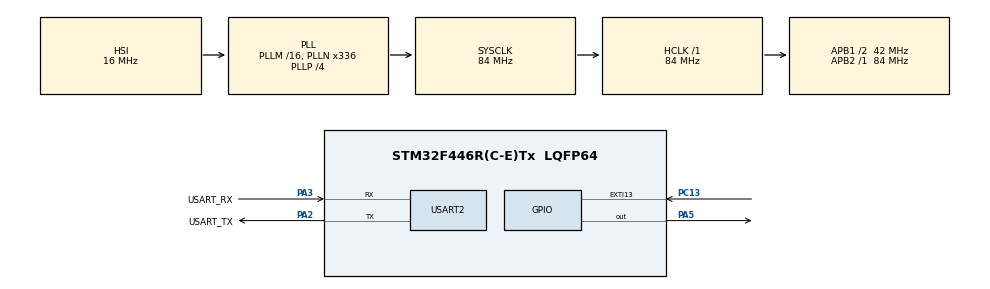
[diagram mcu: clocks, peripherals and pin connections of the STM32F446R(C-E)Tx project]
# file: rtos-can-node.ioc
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FREERTOS.Mutexes01=uartMutex,Dynamic,NULL,Available
FREERTOS.Queues01=messageQueue,5,uint32_t,0,Dynamic,NULL,NULL
FREERTOS.Tasks01=defaultTask,24,128,StartDefaultTask,Default,NULL,Dynamic,NULL,NULL;SecondTask,32,128,StartSecondTask,Default,NULL,Dynamic,NULL,NULL
Mcu.Family=STM32F4
Mcu.Name=STM32F446R(C-E)Tx
Mcu.Package=LQFP64
NUCLEO-F446RE.BUTTON=1
NUCLEO-F446RE.Bsp_Common_DEMO=true
NUCLEO-F446RE.LD1=true
NVIC.EXTI15_10_IRQn=true\:5\:0\:false\:false\:true\:true\:false\:true\:true
NVIC.PriorityGroup=NVIC_PRIORITYGROUP_4
NVIC.TIM6_DAC_IRQn=true\:15\:0\:false\:false\:true\:false\:false\:true\:true
NVIC.TimeBase=TIM6_DAC_IRQn
NVIC.TimeBaseIP=TIM6
PA13.GPIO_Label=TMS
PA13.Mode=Serial_Wire
PA13.Signal=SYS_JTMS-SWDIO
PA14.GPIO_Label=TCK
PA14.Mode=Serial_Wire
PA14.Signal=SYS_JTCK-SWCLK
PA2.GPIO_Label=USART_TX
PA2.Mode=Asynchronous
PA2.Signal=USART2_TX
PA3.GPIO_Label=USART_RX
PA3.Mode=Asynchronous
PA3.Signal=USART2_RX
PA5.Signal=GPIO_Output
PB3.GPIO_Label=SWO
PB3.Signal=SYS_JTDO-SWO
PC13.Signal=GPXTI13
PC14-OSC32_IN.Signal=RCC_OSC32_IN
PC15-OSC32_OUT.Signal=RCC_OSC32_OUT
PH0-OSC_IN.Signal=RCC_OSC_IN
PH1-OSC_OUT.Signal=RCC_OSC_OUT
ProjectManager.HeapSize=0x200
ProjectManager.StackSize=0x400
ProjectManager.TargetToolchain=CMake
RCC.AHBFreq_Value=84000000
RCC.APB1CLKDivider=RCC_HCLK_DIV2
RCC.APB1Freq_Value=42000000
RCC.APB1TimFreq_Value=84000000
RCC.APB2Freq_Value=84000000
RCC.APB2TimFreq_Value=84000000
RCC.CortexFreq_Value=84000000
RCC.FLatency-AdvancedSettings=FLASH_LATENCY_2
RCC.HCLKFreq_Value=84000000
RCC.HSE_VALUE=8000000
RCC.HSI_VALUE=16000000
RCC.LSE_VALUE=32768
RCC.PLLN=336
RCC.PLLP=RCC_PLLP_DIV4
RCC.SYSCLKFreq_VALUE=84000000
RCC.SYSCLKSource=RCC_SYSCLKSOURCE_PLLCLK
RCC.USBFreq_Value=168000000
RCC.VCOOutputFreq_Value=336000000
USART2.VirtualMode=VM_ASYNC
VP_FREERTOS_VS_CMSIS_V2.Mode=CMSIS_V2
VP_NUCLEO-F446RE_VS_BSP_COMMON.Mode=COMMON
VP_SYS_VS_tim6.Mode=TIM6
board=NUCLEO-F446RE

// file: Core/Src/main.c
/* USER CODE BEGIN Header */
/**
  ******************************************************************************
  * @file           : main.c
  * @brief          : Main program body
  ******************************************************************************
  * @attention
  *
  * Copyright (c) 2026 STMicroelectronics.
  * All rights reserved.
  *
  * This software is licensed under terms that can be found in the LICENSE file
  * in the root directory of this software component.
  * If no LICENSE file comes with this software, it is provided AS-IS.
  *
  ******************************************************************************
  */
/* USER CODE END Header */
#include "main.h"
#include "cmsis_os.h"
#include "usart.h"
#include "gpio.h"

/* Button state */
#define BUTTON_RELEASED                    0U
#define BUTTON_PRESSED                     1U

__IO uint32_t BspButtonState = BUTTON_RELEASED;

void SystemClock_Config(void);
void MX_FREERTOS_Init(void);

int main(void)
{

  /* MCU Configuration--------------------------------------------------------*/

  /* Reset of all peripherals, Initializes the Flash interface and the Systick. */
  HAL_Init();

  /* Configure the system clock */
  SystemClock_Config();

  /* Initialize all configured peripherals */
  MX_GPIO_Init();
  MX_USART2_UART_Init();

  /* Init scheduler */
  osKernelInitialize();  /* Call init function for freertos objects (in cmsis_os2.c) */
  MX_FREERTOS_Init();

  /* Initialize leds */
  BSP_LED_Init(LED2);

  /* Initialize USER push-button, will be used to trigger an interrupt each time it's pressed.*/
  BSP_PB_Init(BUTTON_USER, BUTTON_MODE_EXTI);

  /* USER CODE BEGIN BSP */

  /* -- Sample board code to switch on leds ---- */
  BSP_LED_On(LED2);

  /* USER CODE END BSP */

  /* Start scheduler */
  osKernelStart();

  /* We should never get here as control is now taken by the scheduler */

  /* Infinite loop */
  /* USER CODE BEGIN WHILE */
  while (1)
  {

    /* -- Sample board code for User push-button in interrupt mode ---- */
    if (BspButtonState == BUTTON_PRESSED)
    {
      /* Update button state */
      BspButtonState = BUTTON_RELEASED;
      /* -- Sample board code to toggle leds ---- */
      BSP_LED_Toggle(LED2);
      /* ..... Perform your action ..... */
    }
    /* USER CODE END WHILE */

  }
}

void SystemClock_Config(void)
{
  RCC_OscInitTypeDef RCC_OscInitStruct = {0};
  RCC_ClkInitTypeDef RCC_ClkInitStruct = {0};

  /** Configure the main internal regulator output voltage
  */
  __HAL_RCC_PWR_CLK_ENABLE();
  __HAL_PWR_VOLTAGESCALING_CONFIG(PWR_REGULATOR_VOLTAGE_SCALE3);

  /** Initializes the RCC Oscillators according to the specified parameters
  * in the RCC_OscInitTypeDef structure.
  */
  RCC_OscInitStruct.OscillatorType = RCC_OSCILLATORTYPE_HSI;
  RCC_OscInitStruct.HSIState = RCC_HSI_ON;
  RCC_OscInitStruct.HSICalibrationValue = RCC_HSICALIBRATION_DEFAULT;
  RCC_OscInitStruct.PLL.PLLState = RCC_PLL_ON;
  RCC_OscInitStruct.PLL.PLLSource = RCC_PLLSOURCE_HSI;
  RCC_OscInitStruct.PLL.PLLM = 16;
  RCC_OscInitStruct.PLL.PLLN = 336;
  RCC_OscInitStruct.PLL.PLLP = RCC_PLLP_DIV4;
  RCC_OscInitStruct.PLL.PLLQ = 2;
  RCC_OscInitStruct.PLL.PLLR = 2;
  if (HAL_RCC_OscConfig(&RCC_OscInitStruct) != HAL_OK)
  {
    Error_Handler();
  }

  /** Initializes the CPU, AHB and APB buses clocks
  */
  RCC_ClkInitStruct.ClockType = RCC_CLOCKTYPE_HCLK|RCC_CLOCKTYPE_SYSCLK
                              |RCC_CLOCKTYPE_PCLK1|RCC_CLOCKTYPE_PCLK2;
  RCC_ClkInitStruct.SYSCLKSource = RCC_SYSCLKSOURCE_PLLCLK;
  RCC_ClkInitStruct.AHBCLKDivider = RCC_SYSCLK_DIV1;
  RCC_ClkInitStruct.APB1CLKDivider = RCC_HCLK_DIV2;
  RCC_ClkInitStruct.APB2CLKDivider = RCC_HCLK_DIV1;

  if (HAL_RCC_ClockConfig(&RCC_ClkInitStruct, FLASH_LATENCY_2) != HAL_OK)
  {
    Error_Handler();
  }
}

void HAL_TIM_PeriodElapsedCallback(TIM_HandleTypeDef *htim)
{
  if (htim->Instance == TIM6)
  {
    HAL_IncTick();
  }
}

/**
  * @brief EXTI line detection callbacks
  * @param GPIO_Pin: Specifies the pins connected EXTI line
  * @retval None
  */
void HAL_GPIO_EXTI_Callback(uint16_t GPIO_Pin)
{
  if(GPIO_Pin==USER_BUTTON_PIN)
  {
    BspButtonState = BUTTON_PRESSED;
  }
}

void Error_Handler(void)
{
  __disable_irq();
  while (1)
  {
  }
}

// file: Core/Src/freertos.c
/* USER CODE BEGIN Header */
/**
  ******************************************************************************
  * File Name          : freertos.c
  * Description        : Code for freertos applications
  ******************************************************************************
  * @attention
  *
  * Copyright (c) 2026 STMicroelectronics.
  * All rights reserved.
  *
  * This software is licensed under terms that can be found in the LICENSE file
  * in the root directory of this software component.
  * If no LICENSE file comes with this software, it is provided AS-IS.
  *
  ******************************************************************************
  */
/* USER CODE END Header */

#include "FreeRTOS.h"
#include "task.h"
#include "main.h"
#include "cmsis_os.h"

/* USER CODE BEGIN Includes */
#include "usart.h"
#include <stdio.h>
#include <string.h>
#include <stdint.h>

/* USER CODE END Includes */

/* USER CODE BEGIN Variables */
uint8_t msg1[] = "task one\r\n";
uint8_t msg2[] = "task two\r\n";

/* USER CODE END Variables */
/* Definitions for defaultTask */
osThreadId_t defaultTaskHandle;
const osThreadAttr_t defaultTask_attributes = {
  .name = "defaultTask",
  .stack_size = 128 * 4,
  .priority = (osPriority_t) osPriorityNormal,
};
/* Definitions for SecondTask */
osThreadId_t SecondTaskHandle;
const osThreadAttr_t SecondTask_attributes = {
  .name = "SecondTask",
  .stack_size = 128 * 4,
  .priority = (osPriority_t) osPriorityAboveNormal,
};
/* Definitions for messageQueue */
osMessageQueueId_t messageQueueHandle;
const osMessageQueueAttr_t messageQueue_attributes = {
  .name = "messageQueue"
};
/* Definitions for uartMutex */
osMutexId_t uartMutexHandle;
const osMutexAttr_t uartMutex_attributes = {
  .name = "uartMutex"
};

void StartDefaultTask(void *argument);
void StartSecondTask(void *argument);

void MX_FREERTOS_Init(void); /* (MISRA C 2004 rule 8.1) */

void MX_FREERTOS_Init(void) {
  /* Create the mutex(es) */
  /* creation of uartMutex */
  uartMutexHandle = osMutexNew(&uartMutex_attributes);

  /* Create the queue(s) */
  /* creation of messageQueue */
  messageQueueHandle = osMessageQueueNew (5, sizeof(uint32_t), &messageQueue_attributes);

  /* Create the thread(s) */
  /* creation of defaultTask */
  defaultTaskHandle = osThreadNew(StartDefaultTask, NULL, &defaultTask_attributes);

  /* creation of SecondTask */
  SecondTaskHandle = osThreadNew(StartSecondTask, NULL, &SecondTask_attributes);

}

void StartDefaultTask(void *argument)
{
  /* USER CODE BEGIN StartDefaultTask */
  /* Infinite loop */
  for(;;) {
    osMutexAcquire(uartMutexHandle, osWaitForever);
    HAL_UART_Transmit(&huart2, msg1, strlen((char *)msg1), HAL_MAX_DELAY);
    osMutexRelease(uartMutexHandle);
    xTaskNotifyGive(SecondTaskHandle);
    osDelay(2000);
  }
  /* USER CODE END StartDefaultTask */
}

void StartSecondTask(void *argument)
{
    for (;;)
    {
        ulTaskNotifyTake(pdTRUE, portMAX_DELAY);

        osMutexAcquire(uartMutexHandle, osWaitForever);

        char msg[] = "Notification received\r\n";
        HAL_UART_Transmit(&huart2, (uint8_t *)msg, strlen(msg), HAL_MAX_DELAY);

        osMutexRelease(uartMutexHandle);
    }
}
  /* USER CODE END StartSecondTask */
